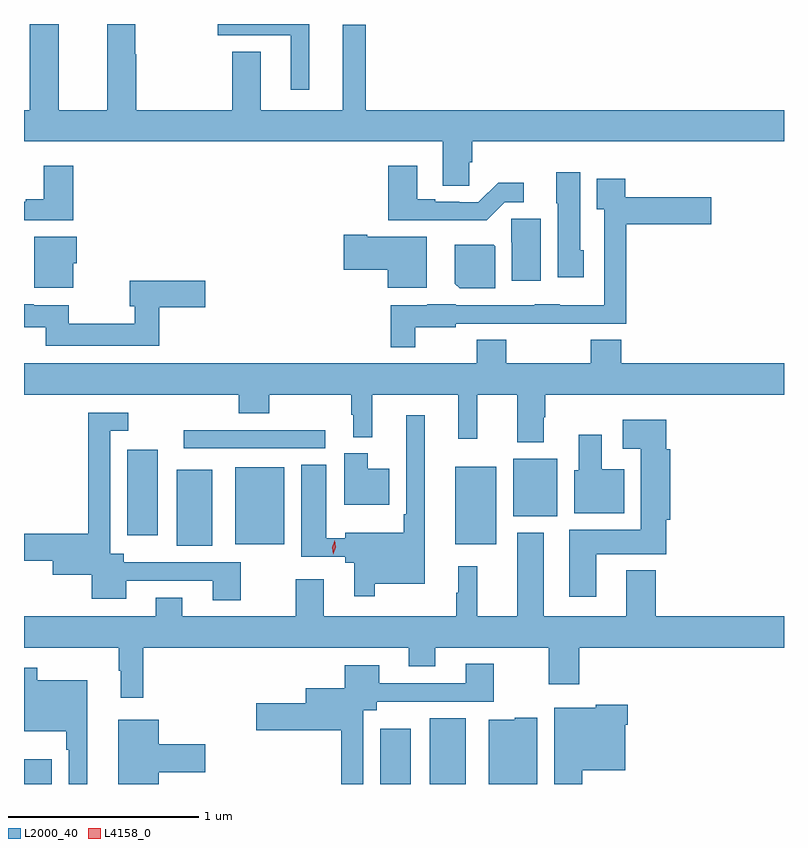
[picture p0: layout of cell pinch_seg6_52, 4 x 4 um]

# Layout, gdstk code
import gdstk
lib = gdstk.Library(unit=1e-6, precision=1e-09)
def R(c, l, rs):  # rectangles x0, y0, x1, y1
    for r in rs: c.add(gdstk.rectangle(r[:2], r[2:], *l))
def P(c, l, *ps):  # polygons
    for p in ps: c.add(gdstk.Polygon(p, *l))
L2000_40 = (2000, 40)
L4158_0 = (4158, 0)

pinch_seg6_52 = lib.new_cell('pinch_seg6_52')
R(pinch_seg6_52, L2000_40, [(1011.932,953.278,1012.078,953.407), (1013.807,953.278,1013.968,953.569), (1014.068,953.278,1014.256,953.623), (1012.736,954.533,1012.924,954.931), (1013.045,954.539,1013.302,954.946), (1014.203,954.539,1014.418,954.949), (1012.475,954.588,1012.636,955.036), (1014.506,954.686,1014.739,954.991), (1012.773,955.044,1013.518,955.14)])
P(pinch_seg6_52, L2000_40, [(1014.276,956.55),(1014.29,956.55),(1014.29,956.66),(1015.932,956.66),(1015.932,956.824),(1013.731,956.824),(1013.731,957.274),(1013.609,957.274),(1013.609,956.824),(1013.179,956.824),(1013.179,957.133),(1013.027,957.133),(1013.027,956.824),(1012.523,956.824),(1012.523,957.12),(1012.518,957.12),(1012.518,957.278),(1012.37,957.278),(1012.37,956.824),(1012.114,956.824),(1012.114,957.278),(1011.962,957.278),(1011.962,956.824),(1011.932,956.824),(1011.932,956.66),(1014.137,956.66),(1014.137,956.428),(1014.276,956.428)],
  [(1013.434,957.278),(1012.951,957.278),(1012.951,957.218),(1013.336,957.218),(1013.336,956.931),(1013.434,956.931)],
  [(1012.19,956.533),(1012.037,956.533),(1012.037,956.356),(1011.941,956.356),(1011.941,956.343),(1011.932,956.343),(1011.932,956.246),(1012.19,956.246)],
  [(1014.462,956.34),(1014.562,956.34),(1014.562,956.443),(1014.427,956.443),(1014.324,956.34),(1014.224,956.34),(1014.224,956.343),(1014.097,956.343),(1014.097,956.356),(1014.001,956.356),(1014.001,956.533),(1013.849,956.533),(1013.849,956.246),(1014.367,956.246)],
  [(1014.877,956.088),(1014.859,956.088),(1014.859,956.497),(1014.734,956.497),(1014.734,956.334),(1014.74,956.334),(1014.74,955.944),(1014.877,955.944)],
  [(1013.992,955.682),(1014.204,955.682),(1014.204,955.701),(1014.621,955.701),(1014.621,955.7),(1014.853,955.7),(1014.853,955.701),(1015.103,955.701),(1015.103,956.225),(1015.549,956.225),(1015.549,956.367),(1015.096,956.367),(1015.096,956.464),(1014.947,956.464),(1014.947,956.303),(1014.987,956.303),(1014.987,955.798),(1014.753,955.798),(1014.753,955.804),(1014.621,955.804),(1014.621,955.797),(1014.204,955.797),(1014.204,955.804),(1014.054,955.804),(1014.054,955.798),(1013.863,955.798),(1013.863,955.577),(1013.992,955.577)],
  [(1014.652,956.253),(1014.496,956.253),(1014.496,956.13),(1014.5,956.13),(1014.5,955.926),(1014.652,955.926)],
  [(1014.052,956.158),(1013.739,956.158),(1013.739,956.168),(1013.616,956.168),(1013.616,955.985),(1013.846,955.985),(1013.846,955.889),(1014.052,955.889)],
  [(1012.192,956.019),(1012.21,956.019),(1012.21,956.158),(1011.986,956.158),(1011.986,955.889),(1012.192,955.889)],
  [(1014.412,956.108),(1014.404,956.116),(1014.2,956.116),(1014.2,955.912),(1014.226,955.886),(1014.412,955.886)],
  [(1012.643,955.786),(1012.885,955.786),(1012.885,955.928),(1012.489,955.928),(1012.489,955.793),(1012.515,955.793),(1012.515,955.7),(1012.168,955.7),(1012.168,955.798),(1011.984,955.798),(1011.984,955.804),(1011.932,955.804),(1011.932,955.682),(1012.047,955.682),(1012.047,955.584),(1012.643,955.584)],
  [(1014.667,955.208),(1014.675,955.208),(1014.675,955.328),(1015.932,955.328),(1015.932,955.492),(1015.076,955.492),(1015.076,955.616),(1014.916,955.616),(1014.916,955.492),(1014.471,955.492),(1014.471,955.616),(1014.316,955.616),(1014.316,955.492),(1011.932,955.492),(1011.932,955.328),(1013.063,955.328),(1013.063,955.229),(1013.223,955.229),(1013.223,955.328),(1013.655,955.328),(1013.655,955.221),(1013.666,955.221),(1013.666,955.103),(1013.765,955.103),(1013.765,955.328),(1014.218,955.328),(1014.218,955.095),(1014.317,955.095),(1014.317,955.328),(1014.527,955.328),(1014.527,955.076),(1014.667,955.076)],
  [(1013.073,954.444),(1012.456,954.444),(1012.456,954.49),(1012.386,954.49),(1012.386,955.137),(1012.48,955.137),(1012.48,955.233),(1012.27,955.233),(1012.27,954.596),(1011.932,954.596),(1011.932,954.454),(1012.082,954.454),(1012.082,954.38),(1012.289,954.38),(1012.289,954.254),(1012.471,954.254),(1012.471,954.348),(1012.925,954.348),(1012.925,954.246),(1013.073,954.246)],
  [(1013.779,954.332),(1014.04,954.332),(1014.04,955.219),(1013.943,955.219),(1013.943,954.697),(1013.931,954.697),(1013.931,954.601),(1013.624,954.601),(1013.624,954.571),(1013.524,954.571),(1013.524,954.959),(1013.39,954.959),(1013.39,954.474),(1013.624,954.474),(1013.624,954.443),(1013.669,954.443),(1013.669,954.267),(1013.779,954.267)],
  [(1014.943,954.488),(1015.313,954.488),(1015.313,954.669),(1015.334,954.669),(1015.334,955.041),(1015.313,955.041),(1015.313,955.195),(1015.083,955.195),(1015.083,955.043),(1015.178,955.043),(1015.178,954.616),(1014.803,954.616),(1014.803,954.264),(1014.943,954.264)],
  [(1015.09,954.934),(1014.973,954.934),(1014.973,955.117),(1014.851,955.117),(1014.851,954.93),(1014.827,954.93),(1014.827,954.704),(1015.09,954.704)],
  [(1013.854,954.937),(1013.74,954.937),(1013.74,955.018),(1013.618,955.018),(1013.618,954.749),(1013.854,954.749)],
  [(1012.559,953.996),(1013.957,953.996),(1013.957,953.897),(1014.097,953.897),(1014.097,953.996),(1014.694,953.996),(1014.694,953.802),(1014.854,953.802),(1014.854,953.996),(1015.932,953.996),(1015.932,954.16),(1015.256,954.16),(1015.256,954.403),(1015.103,954.403),(1015.103,954.16),(1014.667,954.16),(1014.667,954.601),(1014.527,954.601),(1014.527,954.16),(1014.317,954.16),(1014.317,954.424),(1014.218,954.424),(1014.218,954.284),(1014.207,954.284),(1014.207,954.16),(1013.509,954.16),(1013.509,954.355),(1013.362,954.355),(1013.362,954.16),(1012.765,954.16),(1012.765,954.259),(1012.625,954.259),(1012.625,954.16),(1011.932,954.16),(1011.932,953.996),(1012.431,953.996),(1012.431,953.873),(1012.442,953.873),(1012.442,953.733),(1012.559,953.733)],
  [(1013.718,953.666),(1013.788,953.666),(1013.788,953.712),(1014.405,953.712),(1014.405,953.911),(1014.257,953.911),(1014.257,953.808),(1013.803,953.808),(1013.803,953.902),(1013.621,953.902),(1013.621,953.782),(1013.414,953.782),(1013.414,953.703),(1013.154,953.703),(1013.154,953.561),(1013.602,953.561),(1013.602,953.278),(1013.718,953.278)],
  [(1012.264,953.824),(1012.003,953.824),(1012.003,953.89),(1011.932,953.89),(1011.932,953.555),(1012.155,953.555),(1012.155,953.459),(1012.167,953.459),(1012.167,953.278),(1012.264,953.278)],
  [(1014.869,953.351),(1015.096,953.351),(1015.096,953.591),(1015.109,953.591),(1015.109,953.695),(1014.942,953.695),(1014.942,953.68),(1014.722,953.68),(1014.722,953.278),(1014.869,953.278)],
  [(1014.634,953.626),(1014.516,953.626),(1014.516,953.617),(1014.377,953.617),(1014.377,953.278),(1014.634,953.278)],
  [(1012.642,953.339),(1012.885,953.339),(1012.885,953.486),(1012.642,953.486),(1012.642,953.617),(1012.427,953.617),(1012.427,953.278),(1012.642,953.278)])
P(pinch_seg6_52, L4158_0, [(1013.56,954.488),(1013.56,954.488),(1013.554,954.525),(1013.567,954.56),(1013.567,954.56),(1013.568,954.56),(1013.574,954.523),(1013.56,954.488)])

lib.write_gds('pinch_seg6_52.gds')
